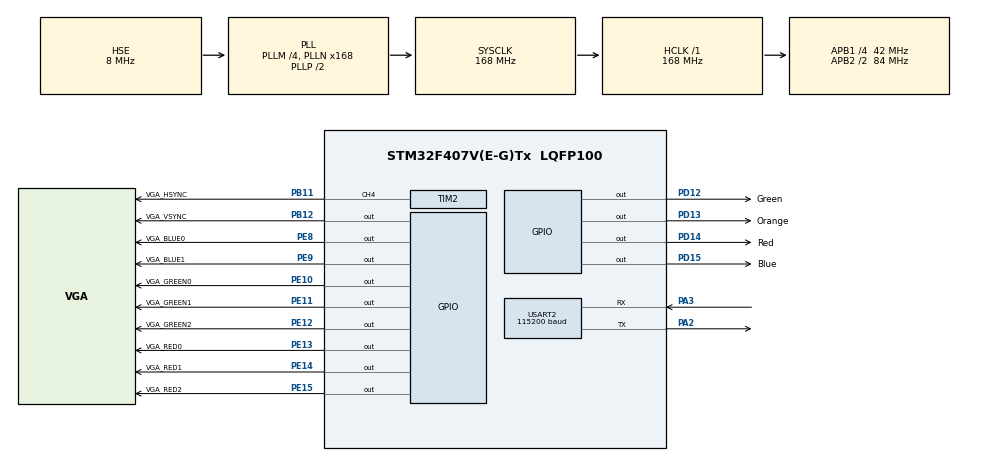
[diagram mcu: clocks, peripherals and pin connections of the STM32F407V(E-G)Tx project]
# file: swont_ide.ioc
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Dma.Request0=TIM1_UP
Dma.Request1=USART2_TX
Dma.TIM1_UP.0.Direction=DMA_MEMORY_TO_PERIPH
Dma.TIM1_UP.0.FIFOMode=DMA_FIFOMODE_DISABLE
Dma.TIM1_UP.0.Instance=DMA2_Stream5
Dma.TIM1_UP.0.MemDataAlignment=DMA_MDATAALIGN_BYTE
Dma.TIM1_UP.0.MemInc=DMA_MINC_ENABLE
Dma.TIM1_UP.0.Mode=DMA_NORMAL
Dma.TIM1_UP.0.PeriphDataAlignment=DMA_PDATAALIGN_BYTE
Dma.TIM1_UP.0.PeriphInc=DMA_PINC_DISABLE
Dma.TIM1_UP.0.Priority=DMA_PRIORITY_VERY_HIGH
Dma.USART2_TX.1.Direction=DMA_MEMORY_TO_PERIPH
Dma.USART2_TX.1.FIFOMode=DMA_FIFOMODE_DISABLE
Dma.USART2_TX.1.Instance=DMA1_Stream6
Dma.USART2_TX.1.MemDataAlignment=DMA_MDATAALIGN_BYTE
Dma.USART2_TX.1.MemInc=DMA_MINC_ENABLE
Dma.USART2_TX.1.Mode=DMA_NORMAL
Dma.USART2_TX.1.PeriphDataAlignment=DMA_PDATAALIGN_BYTE
Dma.USART2_TX.1.PeriphInc=DMA_PINC_DISABLE
Dma.USART2_TX.1.Priority=DMA_PRIORITY_LOW
Mcu.Family=STM32F4
Mcu.Name=STM32F407V(E-G)Tx
Mcu.Package=LQFP100
NVIC.DMA1_Stream6_IRQn=true\:0\:0\:false\:false\:true\:true\:true\:true
NVIC.DMA2_Stream5_IRQn=true\:0\:0\:false\:false\:true\:false\:true\:true
NVIC.FPU_IRQn=true\:0\:0\:false\:false\:true\:true\:false\:true
NVIC.PriorityGroup=NVIC_PRIORITYGROUP_4
NVIC.TIM2_IRQn=true\:0\:0\:true\:false\:true\:true\:true\:true
NVIC.USART2_IRQn=true\:0\:0\:false\:false\:true\:true\:true\:true
PA13.Mode=Serial_Wire
PA13.Signal=SYS_JTMS-SWDIO
PA14.Mode=Serial_Wire
PA14.Signal=SYS_JTCK-SWCLK
PA2.Mode=Asynchronous
PA2.Signal=USART2_TX
PA3.Mode=Asynchronous
PA3.Signal=USART2_RX
PB11.GPIO_Label=VGA_HSYNC
PB11.GPIO_Speed=GPIO_SPEED_FREQ_VERY_HIGH
PB11.Signal=S_TIM2_CH4
PB12.GPIO_Label=VGA_VSYNC
PB12.GPIO_PuPd=GPIO_NOPULL
PB12.GPIO_Speed=GPIO_SPEED_FREQ_VERY_HIGH
PB12.Signal=GPIO_Output
PD12.GPIO_Label=Green
PD12.Signal=GPIO_Output
PD13.GPIO_Label=Orange
PD13.Signal=GPIO_Output
PD14.GPIO_Label=Red
PD14.Signal=GPIO_Output
PD15.GPIO_Label=Blue
PD15.Signal=GPIO_Output
PE10.GPIO_Label=VGA_GREEN0
PE10.GPIO_PuPd=GPIO_NOPULL
PE10.GPIO_Speed=GPIO_SPEED_FREQ_VERY_HIGH
PE10.Signal=GPIO_Output
PE11.GPIO_Label=VGA_GREEN1
PE11.GPIO_PuPd=GPIO_NOPULL
PE11.GPIO_Speed=GPIO_SPEED_FREQ_VERY_HIGH
PE11.Signal=GPIO_Output
PE12.GPIO_Label=VGA_GREEN2
PE12.GPIO_PuPd=GPIO_NOPULL
PE12.GPIO_Speed=GPIO_SPEED_FREQ_VERY_HIGH
PE12.Signal=GPIO_Output
PE13.GPIO_Label=VGA_RED0
PE13.GPIO_PuPd=GPIO_NOPULL
PE13.GPIO_Speed=GPIO_SPEED_FREQ_VERY_HIGH
PE13.Signal=GPIO_Output
PE14.GPIO_Label=VGA_RED1
PE14.GPIO_PuPd=GPIO_NOPULL
PE14.GPIO_Speed=GPIO_SPEED_FREQ_VERY_HIGH
PE14.Signal=GPIO_Output
PE15.GPIO_Label=VGA_RED2
PE15.GPIO_PuPd=GPIO_NOPULL
PE15.GPIO_Speed=GPIO_SPEED_FREQ_VERY_HIGH
PE15.Signal=GPIO_Output
PE8.GPIO_Label=VGA_BLUE0
PE8.GPIO_PuPd=GPIO_NOPULL
PE8.GPIO_Speed=GPIO_SPEED_FREQ_VERY_HIGH
PE8.Signal=GPIO_Output
PE9.GPIO_Label=VGA_BLUE1
PE9.GPIO_PuPd=GPIO_NOPULL
PE9.GPIO_Speed=GPIO_SPEED_FREQ_VERY_HIGH
PE9.Signal=GPIO_Output
PH0-OSC_IN.Mode=HSE-External-Oscillator
PH0-OSC_IN.Signal=RCC_OSC_IN
PH1-OSC_OUT.Mode=HSE-External-Oscillator
PH1-OSC_OUT.Signal=RCC_OSC_OUT
ProjectManager.HeapSize=0x200
ProjectManager.StackSize=0x400
ProjectManager.TargetToolchain=STM32CubeIDE
RCC.48MHZClocksFreq_Value=84000000
RCC.AHBFreq_Value=168000000
RCC.APB1CLKDivider=RCC_HCLK_DIV4
RCC.APB1Freq_Value=42000000
RCC.APB1TimFreq_Value=84000000
RCC.APB2CLKDivider=RCC_HCLK_DIV2
RCC.APB2Freq_Value=84000000
RCC.APB2TimFreq_Value=168000000
RCC.CortexFreq_Value=168000000
RCC.HCLKFreq_Value=168000000
RCC.HSE_VALUE=8000000
RCC.HSI_VALUE=16000000
RCC.LSE_VALUE=32768
RCC.PLLM=4
RCC.PLLN=168
RCC.PLLSourceVirtual=RCC_PLLSOURCE_HSE
RCC.SYSCLKFreq_VALUE=168000000
RCC.SYSCLKSource=RCC_SYSCLKSOURCE_PLLCLK
RCC.VCOOutputFreq_Value=336000000
SH.S_TIM2_CH4.0=TIM2_CH4,PWM Generation4 CH4
TIM1.Period=VGA_TIM1_PERIODE
TIM1.Prescaler=VGA_TIM1_PRESCALE
TIM2.AutoReloadPreload=TIM_AUTORELOAD_PRELOAD_DISABLE
TIM2.Channel-PWM\ Generation3\ No\ Output=TIM_CHANNEL_3
TIM2.Channel-PWM\ Generation4\ CH4=TIM_CHANNEL_4
TIM2.OCFastMode_PWM-PWM\ Generation3\ No\ Output=TIM_OCFAST_DISABLE
TIM2.OCFastMode_PWM-PWM\ Generation4\ CH4=TIM_OCFAST_DISABLE
TIM2.OCPolarity_3=TIM_OCPOLARITY_HIGH
TIM2.OCPolarity_4=TIM_OCPOLARITY_HIGH
TIM2.Period=VGA_TIM2_HSYNC_PERIODE
TIM2.Prescaler=VGA_TIM2_HSYNC_PRESCALE
TIM2.Pulse-PWM\ Generation3\ No\ Output=VGA_TIM2_HTRIGGER_START - VGA_TIM2_DMA_DELAY
TIM2.Pulse-PWM\ Generation4\ CH4=VGA_TIM2_HSYNC_IMP
USART2.BaudRate=115200
USART2.VirtualMode=VM_ASYNC
VP_TIM1_VS_ClockSourceINT.Mode=Internal
VP_TIM2_VS_no_output3.Mode=PWM Generation3 No Output
board=custom

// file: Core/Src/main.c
/* USER CODE BEGIN Header */
/**
 ******************************************************************************
 * @file           : main.c
 * @brief          : Main program body
 ******************************************************************************
 * @attention
 *
 * <h2><center>&copy; Copyright (c) 2020 STMicroelectronics.
 * All rights reserved.</center></h2>
 *
 * This software component is licensed by ST under BSD 3-Clause license,
 * the "License"; You may not use this file except in compliance with the
 * License. You may obtain a copy of the License at:
 *                        opensource.org/licenses/BSD-3-Clause
 *
 *
 ******************************************************************************
 */
/* USER CODE END Header */
#include "main.h"
#include "dma.h"
#include "tim.h"
#include "usart.h"
#include "gpio.h"

/* USER CODE BEGIN Includes */
#include "stdbool.h"
#include "logic_layer.h"
#include "vga_io_driver.h"
#include "api_draw.h"
/* USER CODE END Includes */

/* USER CODE BEGIN PV */

volatile bool logTxDone;
/* USER CODE END PV */

void SystemClock_Config(void);
/* USER CODE BEGIN PFP */
void HardwareInfo(void);
/* USER CODE END PFP */

int main(void)
{

  /* MCU Configuration--------------------------------------------------------*/

  /* Reset of all peripherals, Initializes the Flash interface and the Systick. */
  HAL_Init();

  /* Configure the system clock */
  SystemClock_Config();

  /* Initialize all configured peripherals */
  MX_GPIO_Init();
  MX_DMA_Init();
  MX_TIM1_Init();
  MX_TIM2_Init();
  MX_USART2_UART_Init();
  /* USER CODE BEGIN 2 */
    HAL_GPIO_WritePin(Green_GPIO_Port, Green_Pin, GPIO_PIN_SET);
    HAL_GPIO_WritePin(Red_GPIO_Port, Red_Pin, GPIO_PIN_SET);
    HardwareInfo();

    VGA_Init(); // Init vgaData_s-Screen
    API_clearscreen(VGA_COLOUR_WHITE);

    API_draw_text(10, 20, VGA_COLOUR_PINK, "the quick brown fox jumps over the lazy dog", "arial", 1, 2, 0);
    API_draw_text(10, 200, VGA_COLOUR_PINK, "the quick brown fox jumps over the lazy dog", "consolas", 2, 1, 0);
//    API_draw_circle(160, 120, 110, VGA_COLOUR_GREY, 0);
//
//    API_draw_figure(50, 50, 100, 50, 100, 100, 50, 100, 50, 50, VGA_COLOUR_YELLOW, 0);
//    API_draw_figure(150, 90, 170, 110, 160, 130, 140, 130, 130, 110, VGA_COLOUR_LIGHT_GREEN, 1);

    HAL_GPIO_WritePin(Green_GPIO_Port, Green_Pin, GPIO_PIN_RESET);
    HAL_GPIO_WritePin(Red_GPIO_Port, Red_Pin, GPIO_PIN_RESET);

    int i;

    for(i = 0; i < LINE_BUFLEN; i++)
    {
        Input.line_rx_buffer[i] = 0;
    }

    // Reset some stuff
    Input.byte_buffer_rx[0] = 0;
    Input.char_counter = 0;
    Input.command_execute_flag = FALSE;

    // HAL wants a memory location to store the character it receives from the UART
    // We will pass it an array, but we will not use it. We declare our own variable in the interrupt handler
    // See stm32f4xx_it.c
    HAL_UART_Receive_IT(&huart2, Input.byte_buffer_rx, BYTE_BUFLEN);

    // Test to see if the screen reacts to UART
    //unsigned char colorTest = TRUE;
    uint32_t timeToFeed = HAL_GetTick() + 100;
  /* USER CODE END 2 */

  /* Infinite loop */
  /* USER CODE BEGIN WHILE */

    while(1)
    {
        if(Input.command_execute_flag == TRUE)
        {
            LOGD("command received, executing..");
            LL_Receive();
            Input.command_execute_flag = FALSE;    // When finished reset the flag
        }
        if(logTxDone)
        {
            LOG_SendNextLog();
            logTxDone = false;
        }
        if(HAL_GetTick() >= timeToFeed)
        {
            HAL_GPIO_TogglePin(Green_GPIO_Port, Green_Pin);
            timeToFeed = HAL_GetTick() + 499;
        }

    /* USER CODE END WHILE */

    }
}

void SystemClock_Config(void)
{
  RCC_OscInitTypeDef RCC_OscInitStruct = {0};
  RCC_ClkInitTypeDef RCC_ClkInitStruct = {0};

  /** Configure the main internal regulator output voltage
  */
  __HAL_RCC_PWR_CLK_ENABLE();
  __HAL_PWR_VOLTAGESCALING_CONFIG(PWR_REGULATOR_VOLTAGE_SCALE1);

  /** Initializes the RCC Oscillators according to the specified parameters
  * in the RCC_OscInitTypeDef structure.
  */
  RCC_OscInitStruct.OscillatorType = RCC_OSCILLATORTYPE_HSE;
  RCC_OscInitStruct.HSEState = RCC_HSE_ON;
  RCC_OscInitStruct.PLL.PLLState = RCC_PLL_ON;
  RCC_OscInitStruct.PLL.PLLSource = RCC_PLLSOURCE_HSE;
  RCC_OscInitStruct.PLL.PLLM = 4;
  RCC_OscInitStruct.PLL.PLLN = 168;
  RCC_OscInitStruct.PLL.PLLP = RCC_PLLP_DIV2;
  RCC_OscInitStruct.PLL.PLLQ = 4;
  if (HAL_RCC_OscConfig(&RCC_OscInitStruct) != HAL_OK)
  {
    Error_Handler();
  }

  /** Initializes the CPU, AHB and APB buses clocks
  */
  RCC_ClkInitStruct.ClockType = RCC_CLOCKTYPE_HCLK|RCC_CLOCKTYPE_SYSCLK
                              |RCC_CLOCKTYPE_PCLK1|RCC_CLOCKTYPE_PCLK2;
  RCC_ClkInitStruct.SYSCLKSource = RCC_SYSCLKSOURCE_PLLCLK;
  RCC_ClkInitStruct.AHBCLKDivider = RCC_SYSCLK_DIV1;
  RCC_ClkInitStruct.APB1CLKDivider = RCC_HCLK_DIV4;
  RCC_ClkInitStruct.APB2CLKDivider = RCC_HCLK_DIV2;

  if (HAL_RCC_ClockConfig(&RCC_ClkInitStruct, FLASH_LATENCY_5) != HAL_OK)
  {
    Error_Handler();
  }
}

/* USER CODE BEGIN 4 */
void HAL_UART_TxCpltCallback(UART_HandleTypeDef* huart)
{
    logTxDone = true;
}

void HardwareInfo(void)
{
    LOGH("\n\n\n\n\n");
    LOGH("MCU: %s: rev: 0x%lx", "stm32f407vgt6", DBGMCU->IDCODE);
    LOGH("Core: Cotrex-m%d", __CORTEX_M);
    LOGH("uid: 0x%lx 0x%lx 0x%lX", HAL_GetUIDw0(), HAL_GetUIDw1(), HAL_GetUIDw2());
    LOGH("\tSystem clock: %lu Hz", HAL_RCC_GetSysClockFreq());
    LOGH("\tAHB clock:    %lu Hz", HAL_RCC_GetHCLKFreq());
    LOGH("\tPCLK1 clock:  %lu Hz", HAL_RCC_GetPCLK1Freq());
    LOGH("\tPCLK2 clock:  %lu Hz", HAL_RCC_GetPCLK2Freq());
#if HAL_RTC_MODULE_ENABLED
    LOGH("\tRTC clock:    Enabled\n");
#else
    LOGH("\tRTC clock:    Disabled\n");
#endif
}
/* USER CODE END 4 */

void Error_Handler(void)
{
}
